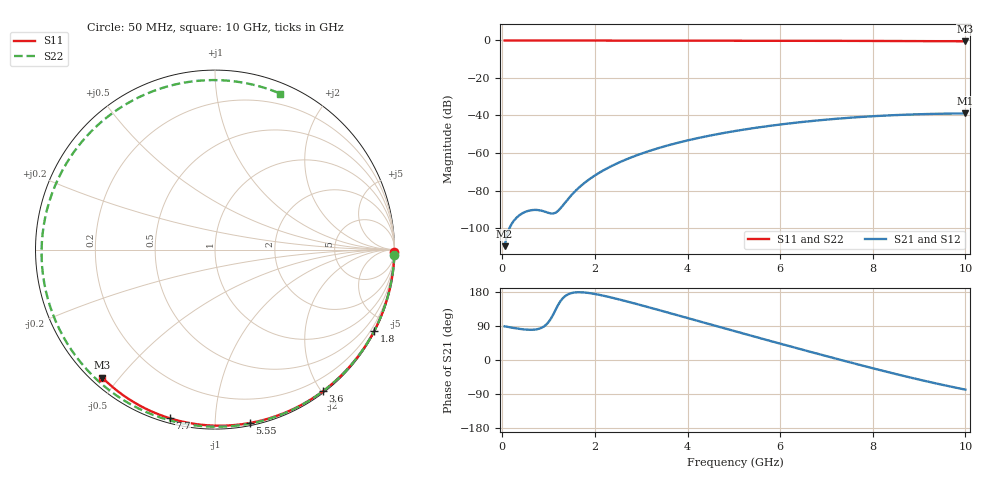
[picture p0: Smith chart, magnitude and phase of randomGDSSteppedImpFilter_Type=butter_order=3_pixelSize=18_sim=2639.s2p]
! freq	dB(S11)	phase(S11)	dB(S12)	phase(S12)
!  dB(S21)	phase(S21)	dB(S22)	phase(S22)
!S-par simulation data
#  GHz  S  DB  R 50
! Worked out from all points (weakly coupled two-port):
!   200 points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, 50 MHz to 10 GHz, reference 50 ohm
!   highest |S21| = -38.89 dB at 10 GHz (marker M1); lowest = -109.7 dB at 50 MHz (marker M2)
!   lowest |S11| = -0.4 dB at 10 GHz (marker M3), VSWR 39.11, Z = 1.54 - j22.6 ohm
!   |S11| at or under -10 dB: nowhere
!   |S22| runs from -0.5 to 0.0 dB; largest |S21 - S12| = 0
!   S11 on the Smith chart (normalised r, x): 50 MHz: open; 1.8 GHz: 0.04, -4.18; 3.6 GHz: 0.02, -2.02; 5.55 GHz: 0.02, -1.22; 7.7 GHz: 0.02, -0.77; 10 GHz: 0.03, -0.45
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0.05  -0.00 -0.8  -109.67 88.9  -109.67 88.9  -0.00 -1.6
0.75  -0.01 -11.3  -90.37 81.1  -90.37 81.1  -0.03 -23.9
1.55  -0.03 -23.2  -80.94 178.0  -80.94 178.0  -0.06 -48.7
1.6  -0.03 -24.0  -79.72 178.6  -79.72 178.6  -0.06 -50.2
1.75  -0.03 -26.2  -76.44 178.4  -76.44 178.4  -0.07 -54.8
1.8  -0.03 -26.9  -75.46 177.8  -75.46 177.8  -0.07 -56.3
2.1  -0.04 -31.3  -70.44 171.8  -70.44 171.8  -0.08 -65.2
2.5  -0.05 -37.1  -65.30 160.5  -65.30 160.5  -0.10 -76.9
3.4  -0.07 -49.9  -57.19 131.2  -57.19 131.2  -0.13 -102.2
3.6  -0.07 -52.6  -55.79 124.4  -55.79 124.4  -0.14 -107.7
4.3  -0.09 -62.2  -51.65 100.6  -51.65 100.6  -0.17 -126.5
5.05  -0.11 -72.2  -48.18 75.1  -48.18 75.1  -0.21 -146.4
5.55  -0.13 -78.6  -46.29 58.2  -46.29 58.2  -0.25 -159.6
6.15  -0.15 -86.2  -44.37 38.2  -44.37 38.2  -0.29 -175.6
6.7  -0.18 -93.0  -42.90 20.0  -42.90 20.0  -0.33 169.4
7.2  -0.21 -99.0  -41.78 3.7  -41.78 3.7  -0.37 155.4
7.7  -0.24 -105.0  -40.86 -12.3  -40.86 -12.3  -0.40 140.8
8.35  -0.29 -112.6  -39.95 -32.5  -39.95 -32.5  -0.45 121.1
8.8  -0.32 -117.8  -39.49 -45.9  -39.49 -45.9  -0.47 106.9
9.2  -0.36 -122.3  -39.20 -57.3  -39.20 -57.3  -0.49 93.9
9.6  -0.40 -126.8  -39.01 -68.1  -39.01 -68.1  -0.51 80.7
10  -0.44 -131.3  -38.89 -78.1  -38.89 -78.1  -0.52 67.3
